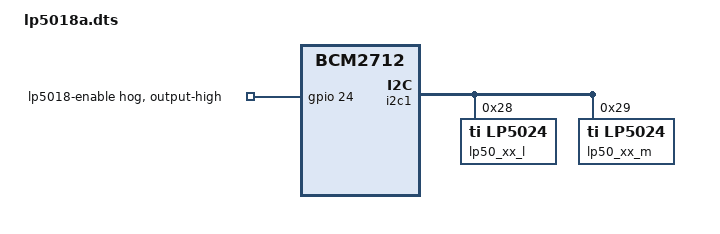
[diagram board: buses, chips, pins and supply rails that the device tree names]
/dts-v1/;
/plugin/;


/ {
    compatible = "brcm,bcm2712";

    fragment@0 {
        target = <&i2c1>;
        __overlay__ {
            // this is all because of the lp5018 vssop fuckery.  See table 7-1
            lp50_xx_l: led-controller_l  {
                compatible = "ti,lp5024";
                reg = <0x28>;
                #address-cells = <1>;
                #size-cells = <0>;

                /* RGB LED 0 (OUT0,1,2) */
                /* --- LED 0 (GRB triplet 0: OUT0-OUT2) --- */
                /* LED 0 - Specifically addressed to Output 0 */


                rgb_l0: multi-led@0 {
                    reg = <0>;
                    label = "l0:1";
                    color = <8>; /* RGB */
                    default-state = "on";
                    default-brightness = <128>;

                    #address-cells = <1>;
                    #size-cells = <0>;

                    led@0 {
                        reg = <0>;
                        color = <2>; /* green */
                    };

                    led@1 {
                        reg = <1>;
                        color = <1>; /* red */
                    };
                };

                rgb_l1: multi-led@1 {
                    reg = <1>;
                    label = "l2:4";
                    color = <8>; /* RGB */
                    default-state = "on";
                    default-brightness = <128>;

                    #address-cells = <1>;
                    #size-cells = <0>;

                    led@0 {
                        reg = <0>;
                        color = <3>; /* blue */
                    };

                    led@1 {
                        reg = <1>;
                        color = <2>;
                    };
                    led@2 {
                        reg = <2>;
                        color = <1>;
                    };
                };

                rgb_l2: multi-led@2 {
                    reg = <2>;
                    label = "l5:6";
                    color = <8>; /* RGB */
                    default-state = "on";
                    default-brightness = <128>;

                    #address-cells = <1>;
                    #size-cells = <0>;

                    led@1 {
                        reg = <1>;
                        color = <3>;
                    };
                    led@2 {
                        reg = <2>;
                        color = <2>;
                    };
                };

                rgb_l3: multi-led@3 {
                    reg = <3>;
                    label = "l7:8";
                    color = <8>; /* RGB */
                    default-state = "on";
                    default-brightness = <128>;

                    #address-cells = <1>;
                    #size-cells = <0>;

                    led@0 {
                        reg = <0>;
                        color = <1>;
                    };
                    led@1 {
                        reg = <1>;
                        color = <3>;
                    };
                };
                rgb_l4: multi-led@4 {
                    reg = <4>;
                    label = "l9:11";
                    color = <8>; /* RGB */
                    default-state = "on";
                    default-brightness = <128>;

                    #address-cells = <1>;
                    #size-cells = <0>;

                    led@0 {
                        reg = <0>;
                        color = <2>;
                    };
                    led@1 {
                        reg = <1>;
                        color = <1>;
                    };
                    led@2 {
                        reg = <2>;
                        color = <3>;
                    };
                };
                rgb_l5: multi-led@5 {
                    reg = <5>;
                    label = "l12:13";
                    color = <8>; /* RGB */
                    default-state = "on";
                    default-brightness = <128>;

                    #address-cells = <1>;
                    #size-cells = <0>;

                    led@0 {
                        reg = <0>;
                        color = <2>;
                    };
                    led@2 {
                        reg = <2>;
                        color = <1>;
                    };
                };
                rgb_l6: multi-led@6 {
                    reg = <6>;
                    label = "l14:15";
                    color = <8>; /* RGB */
                    default-state = "on";
                    default-brightness = <128>;

                    #address-cells = <1>;
                    #size-cells = <0>;

                    led@1 {
                        reg = <1>;
                        color = <3>;
                    };
                    led@2 {
                        reg = <2>;
                        color = <2>;
                    };
                };
                rgb_l7: multi-led@7 {
                    reg = <7>;
                    label = "l16:17";
                    color = <8>; /* RGB */
                    default-state = "on";
                    default-brightness = <128>;

                    #address-cells = <1>;
                    #size-cells = <0>;

                    led@0 {
                        reg = <0>;
                        color = <1>;
                    };
                    led@1 {
                        reg = <1>;
                        color = <3>;
                    };
                };
            };
        };
    };

    fragment@1 {
        target = <&i2c1>;
        __overlay__ {
            // this is all because of the lp5018 vssop fuckery.  See table 7-1
            lp50_xx_m: led-controller {
                compatible = "ti,lp5024";
                reg = <0x29>;
                #address-cells = <1>;
                #size-cells = <0>;

                /* RGB LED 0 (OUT0,1,2) */
                /* --- LED 0 (GRB triplet 0: OUT0-OUT2) --- */
                /* LED 0 - Specifically addressed to Output 0 */


                rgb_m0: multi-led@0 {
                    reg = <0>;
                    label = "m0:1";
                    color = <8>; /* RGB */
                    default-state = "on";
                    default-brightness = <128>;

                    #address-cells = <1>;
                    #size-cells = <0>;

                    led@0 {
                        reg = <0>;
                        color = <2>; /* green */
                    };

                    led@1 {
                        reg = <1>;
                        color = <1>; /* red */
                    };
                };

                rgb_m1: multi-led@1 {
                    reg = <1>;
                    label = "m2:4";
                    color = <8>; /* RGB */
                    default-state = "on";
                    default-brightness = <128>;

                    #address-cells = <1>;
                    #size-cells = <0>;

                    led@0 {
                        reg = <0>;
                        color = <3>; /* blue */
                    };

                    led@1 {
                        reg = <1>;
                        color = <2>;
                    };
                    led@2 {
                        reg = <2>;
                        color = <1>;
                    };
                };

                rgb_m2: multi-led@2 {
                    reg = <2>;
                    label = "m5:6";
                    color = <8>; /* RGB */
                    default-state = "on";
                    default-brightness = <128>;

                    #address-cells = <1>;
                    #size-cells = <0>;

                    led@1 {
                        reg = <1>;
                        color = <3>;
                    };
                    led@2 {
                        reg = <2>;
                        color = <2>;
                    };
                };

                rgb_m3: multi-led@3 {
                    reg = <3>;
                    label = "m7:8";
                    color = <8>; /* RGB */
                    default-state = "on";
                    default-brightness = <128>;

                    #address-cells = <1>;
                    #size-cells = <0>;

                    led@0 {
                        reg = <0>;
                        color = <1>;
                    };
                    led@1 {
                        reg = <1>;
                        color = <3>;
                    };
                };
                rgb_m4: multi-led@4 {
                    reg = <4>;
                    label = "m9:11";
                    color = <8>; /* RGB */
                    default-state = "on";
                    default-brightness = <128>;

                    #address-cells = <1>;
                    #size-cells = <0>;

                    led@0 {
                        reg = <0>;
                        color = <2>;
                    };
                    led@1 {
                        reg = <1>;
                        color = <1>;
                    };
                    led@2 {
                        reg = <2>;
                        color = <3>;
                    };
                };
                rgb_m5: multi-led@5 {
                    reg = <5>;
                    label = "m12:13";
                    color = <8>; /* RGB */
                    default-state = "on";
                    default-brightness = <128>;

                    #address-cells = <1>;
                    #size-cells = <0>;

                    led@0 {
                        reg = <0>;
                        color = <2>;
                    };
                    led@2 {
                        reg = <2>;
                        color = <1>;
                    };
                };
                rgb_m6: multi-led@6 {
                    reg = <6>;
                    label = "m14:15";
                    color = <8>; /* RGB */
                    default-state = "on";
                    default-brightness = <128>;

                    #address-cells = <1>;
                    #size-cells = <0>;

                    led@1 {
                        reg = <1>;
                        color = <3>;
                    };
                    led@2 {
                        reg = <2>;
                        color = <2>;
                    };
                };
                rgb_m7: multi-led@7 {
                    reg = <7>;
                    label = "m16:17";
                    color = <8>; /* RGB */
                    default-state = "on";
                    default-brightness = <128>;

                    #address-cells = <1>;
                    #size-cells = <0>;

                    led@0 {
                        reg = <0>;
                        color = <1>;
                    };
                    led@1 {
                        reg = <1>;
                        color = <3>;
                    };
                };
            };
        };
    };

    fragment@2 {
        target = <&gpio>;
        __overlay__ {
            lp5018_enable: lp5018_enable {
                gpio-hog;
                gpios = <24 0>;
                output-high;
                line-name = "lp5018-enable";
            };
        };
    };
};
